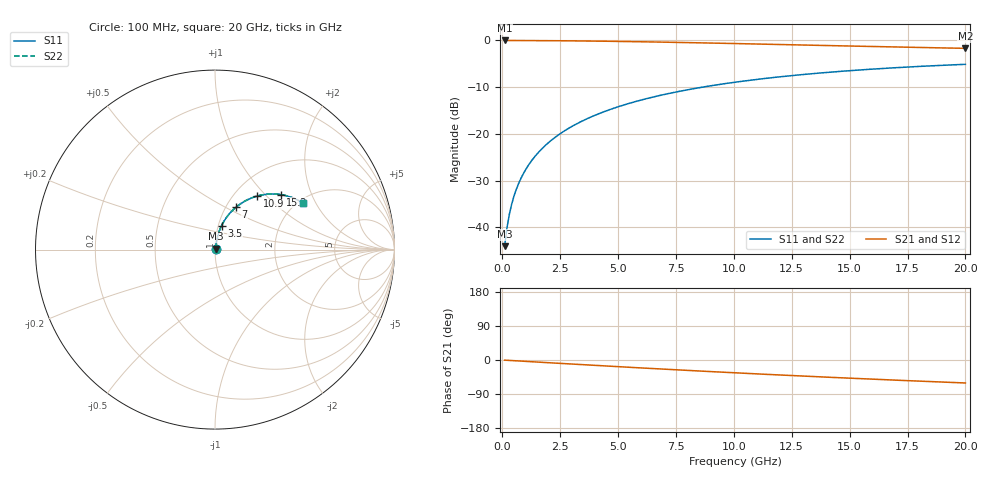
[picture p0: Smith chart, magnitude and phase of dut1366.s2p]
! Touchstone file exported from HFSS 2026.1.0
!  File:  C:/ffzhzh/LocalFiles/Ansys_Project_Files/temp_train_TMRDL_1366_1783165771_22436.aedt
!  Generated:  07:51:00 PM Jul  4, 2026
!  Design:  TMRDL
!  Project:  temp_train_TMRDL_1366_1783165771_22436
! Variables:
!  h_bsmrdl = 2um
!  h_ox = 20um
!  h_rdl = 5um
!  h_sub = 80um
!  h_tmrdl = 3.64um
!  h_tsv = 80um
!  h_via = 3um
!  l_bsmrdl = 300um
!  l_sub = 1321.11um
!  l_tmrdl = 921.11um
!  m_sub = 200um
!  pitch = 55.36um
!  r_tsv = 6um
!  s_tmrdl = 10um
!  w_bsmrdl = 18um
!  w_sub = 500um
!  w_tmrdl = 20.1um
!  x_tsv_center1 = 931.16um
!  x_tsv_center2 = 1249.16um
!  x_tsv_center3 = 2190.37um
!  x_tsv_center4 = 2508.37um
!  x_tsv_center5 = 3449.58um
!  x_tsv_center6 = 3767.58um
# GHz S MA R 50.000000
! Terminal data exported
! Port[1] = TM_RDL1_1_T1
! Port[2] = TM_RDL1_1_T2
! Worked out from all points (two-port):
!   200 points, 100 MHz to 20 GHz, reference 50 ohm
!   highest |S21| = -0.04 dB at 100 MHz (marker M1); lowest = -1.7 dB at 20 GHz (marker M2)
!   |S21| within 3 dB of the highest: start of sweep to end of sweep
!   lowest |S11| = -44.0 dB at 100 MHz (marker M3), VSWR 1.01, Z = 50.5 + j0.434 ohm
!   |S11| at or under -10 dB: start of sweep to 8.664 GHz
!   |S22| runs from -44.0 to -5.1 dB; largest |S21 - S12| = 6.5e-15
!   S11 on the Smith chart (normalised r, x): 100 MHz: 1.01, +0.01; 3.5 GHz: 1.04, +0.28; 7 GHz: 1.11, +0.57; 10.9 GHz: 1.27, +0.88; 15.2 GHz: 1.56, +1.24; 20 GHz: 2.11, +1.58
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0.1  0.006313 43.0  0.9954 -0.4  0.9954 -0.4  0.006313 43.0
! Gamma 0 0 0 0
! Port Impedance 50 0 50 0
0.2  0.009812 60.2  0.9952 -0.7  0.9952 -0.7  0.009812 60.2
0.3  0.01364 67.5  0.995 -1.1  0.995 -1.1  0.01364 67.5
0.4  0.01754 71.5  0.9947 -1.5  0.9947 -1.5  0.01754 71.5
0.5  0.02145 73.9  0.9945 -1.8  0.9945 -1.8  0.02145 73.9
0.6  0.02537 75.5  0.9943 -2.2  0.9943 -2.2  0.02537 75.6
0.8  0.03325 77.5  0.9939 -2.9  0.9939 -2.9  0.03325 77.5
1.1  0.04513 78.7  0.9933 -4.0  0.9933 -4.0  0.04513 78.8
1.5  0.061 79.0  0.9922 -5.4  0.9922 -5.4  0.061 79.1
2.1  0.08474 78.3  0.9902 -7.5  0.9902 -7.5  0.08473 78.3
2.7  0.1082 76.9  0.9875 -9.6  0.9875 -9.6  0.1082 76.9
3.5  0.139 74.6  0.9831 -12.4  0.9831 -12.4  0.139 74.6
5  0.1947 69.9  0.9725 -17.6  0.9725 -17.6  0.1947 70.0
6.8  0.2571 64.2  0.9566 -23.6  0.9566 -23.6  0.2571 64.3
7  0.2638 63.6  0.9547 -24.2  0.9547 -24.2  0.2637 63.7
8.5  0.3113 58.9  0.9395 -29.0  0.9395 -29.0  0.3113 59.0
10.1  0.3578 54.1  0.9221 -34.0  0.9221 -34.0  0.3577 54.2
10.9  0.3793 51.8  0.9133 -36.4  0.9133 -36.4  0.3793 51.9
13.4  0.4399 44.7  0.8854 -43.6  0.8854 -43.6  0.4398 44.9
15.2  0.4772 39.9  0.8659 -48.5  0.8659 -48.5  0.4771 40.1
16.7  0.5044 36.0  0.8504 -52.4  0.8504 -52.4  0.5044 36.2
20  0.5533 28.0  0.82 -60.6  0.82 -60.6  0.5532 28.2
